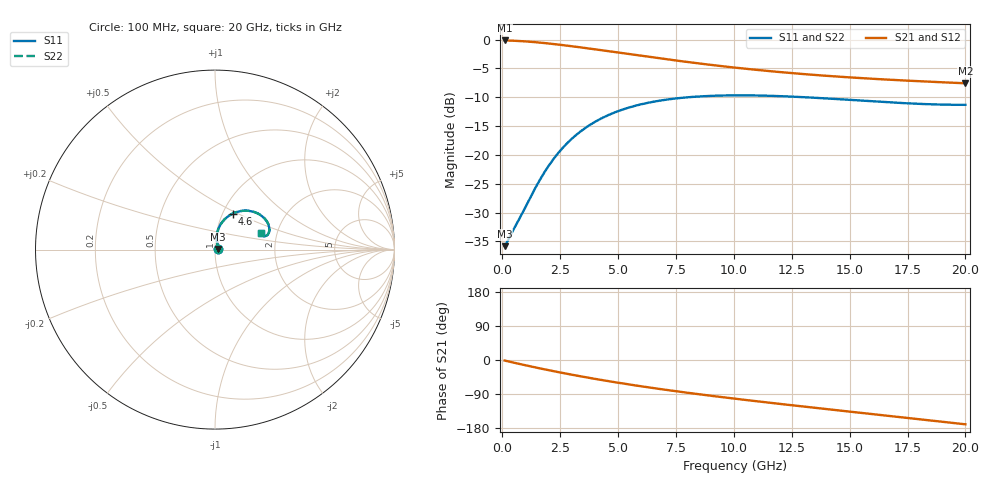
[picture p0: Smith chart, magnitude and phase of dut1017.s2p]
! Touchstone file exported from HFSS 2024.1.0
!  File:  C:/UserFiles/LocalFiles/RDL_TSV_Batchsim/temp_RDL_TSV_1017_1780080160.aedt
!  Generated:  02:56:48 AM May 30, 2026
!  Design:  RDL_TSV
!  Project:  temp_RDL_TSV_1017_1780080160
!  Setup:  Setup1
!  Solution:  Sweep
! Variables:
!  dtsv = 8.09um
!  hbump = 3um
!  htsv = 63.89um
!  ldown = 547.49um
!  lrdl = 209.09um
!  p = 40
!  p1 = 43.88um
!  rhole = 10um
!  subl = 2478.83um
!  t = 450um
!  tdown = 3.01um
!  trdl = 3.94um
!  viad = 10um
!  wdown = 17.61um
!  wrdl = 18.79um
!  xbump = 18um
# GHz S MA R 50.000000
! Terminal data exported
! Port[1] = TM1_1_T1
! Port[2] = TM1_4_T1
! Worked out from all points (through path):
!   200 points, 100 MHz to 20 GHz, reference 50 ohm
!   highest |S21| = -0.14 dB at 100 MHz (marker M1); lowest = -7.6 dB at 20 GHz (marker M2)
!   group delay of S21, straight-line fit = 22.3 ps
!   lowest |S11| = -35.8 dB at 100 MHz (marker M3), VSWR 1.03, Z = 51.6 + j0.368 ohm
!   |S11| at or under -10 dB: start of sweep to 8.004 GHz; 13.12 GHz to end of sweep
!   |S22| runs from -35.8 to -9.6 dB; largest |S21 - S12| = 1.1e-14
!   S11 on the Smith chart (normalised r, x): 100 MHz: 1.03, +0.01; 4.6 GHz: 1.11, +0.47; 20 GHz: 1.65, +0.32
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0.1  0.01617 12.7  0.984 -1.4  0.984 -1.4  0.01617 12.7
! Gamma 0 0 0 0
! Port Impedance 50 0 50 0
0.5  0.02279 44.7  0.9782 -7.1  0.9782 -7.1  0.02279 44.7
1  0.03529 67.8  0.9656 -13.9  0.9656 -13.9  0.03528 67.8
1.5  0.05499 79.2  0.9479 -20.5  0.9479 -20.5  0.05498 79.3
2  0.08036 82.4  0.9263 -26.9  0.9263 -26.9  0.08036 82.5
2.3  0.09719 82.1  0.9121 -30.5  0.9121 -30.5  0.0972 82.2
2.7  0.1205 80.2  0.8923 -35.3  0.8923 -35.3  0.1205 80.3
3.1  0.1439 77.4  0.8718 -39.9  0.8718 -39.9  0.1439 77.5
3.5  0.1666 74.0  0.8509 -44.4  0.8509 -44.4  0.1667 74.1
4  0.1935 69.5  0.8248 -49.8  0.8248 -49.8  0.1936 69.6
4.6  0.2225 64.0  0.7937 -56.0  0.7937 -56.0  0.2227 64.1
5.6  0.2622 55.3  0.7438 -65.7  0.7438 -65.7  0.2625 55.3
6.8  0.2958 46.0  0.6887 -76.5  0.6887 -76.5  0.2962 46.1
7.6  0.3107 40.6  0.6554 -83.2  0.6554 -83.2  0.3112 40.7
8.4  0.3206 35.8  0.6252 -89.7  0.6252 -89.7  0.3212 35.9
10.1  0.3288 27.4  0.5705 -102.5  0.5705 -102.5  0.3295 27.5
11.7  0.3251 21.6  0.5297 -113.9  0.5297 -113.9  0.326 21.7
13.4  0.3141 17.5  0.4958 -125.5  0.4958 -125.5  0.3151 17.5
15  0.3004 15.4  0.4706 -136.2  0.4706 -136.2  0.3015 15.4
16.7  0.286 15.1  0.4494 -147.5  0.4494 -147.5  0.2872 15.1
18.4  0.2754 16.7  0.4322 -158.9  0.4322 -158.9  0.2766 16.7
20  0.272 19.5  0.4184 -169.7  0.4184 -169.7  0.2732 19.4
